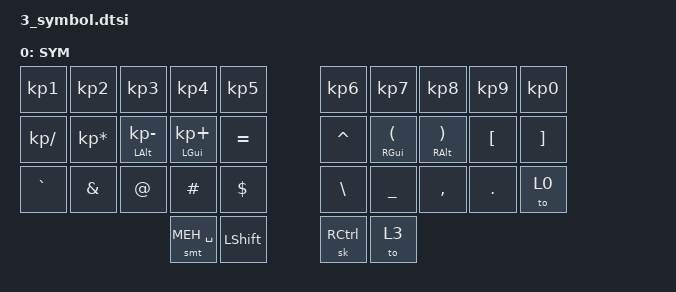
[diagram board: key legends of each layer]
/*
 * Numbers and Symbols Layer
*/

/ {
  keymap {
    compatible = "zmk,keymap";

    base_heb {
      label = "SYM";
      bindings = <
// ╭───────────────┬───────────────┬───────────────┬───────────────┬───────────────╮  ╭───────────────┬───────────────┬───────────────┬───────────────┬───────────────╮
//  0               1               2               3               4                  5               6               7               8               9
    &kp KP_N1       &kp KP_N2       &kp KP_N3       &kp KP_N4       &kp KP_N5          &kp KP_N6       &kp KP_N7       &kp KP_N8       &kp KP_N9       &kp KP_N0
// ├───────────────├───────────────┼───────────────┼───────────────┼───────────────┤  ├───────────────├───────────────┼───────────────┼───────────────┼───────────────┤
//  10              11              12              13              14                 15              16              17              18              19
    &kp KP_SLASH    &kp KP_MULTIPLY &hm LALT KP_MINUS &hm LGUI KP_PLUS  &kp EQUAL      &kp CARET       &hm RGUI LPAR   &hm RALT RPAR   &kp LBKT        &kp RBKT
// ├───────────────├───────────────┼───────────────┼───────────────┼───────────────┤  ├───────────────├───────────────┼───────────────┼───────────────┼───────────────┤
//  20              21              22              23              24                 25              26              27              28              29
    &kp GRAVE       &kp AMPERSAND   &kp AT_SIGN     &kp HASH        &kp DOLLAR         &kp BACKSLASH   &kp UNDER       &kp COMMA       &kp DOT         &to 0
// ╰───────────────┴───────────────┼───────────────┴───────┬───────┴───────────────┤  ┼───────────────┴───────┬───────┴───────────────┤───────────────┴───────────────╯
//                                  30                      31                         32                      33              
                                    &smt MEH SPACE          &kp LSHIFT                 &sk RCTRL               &to 3
//                                 ╰───────────────────────┴───────────────────────╯  ╰───────────────────────┴───────────────────────╯
      >;
    };
  };
};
